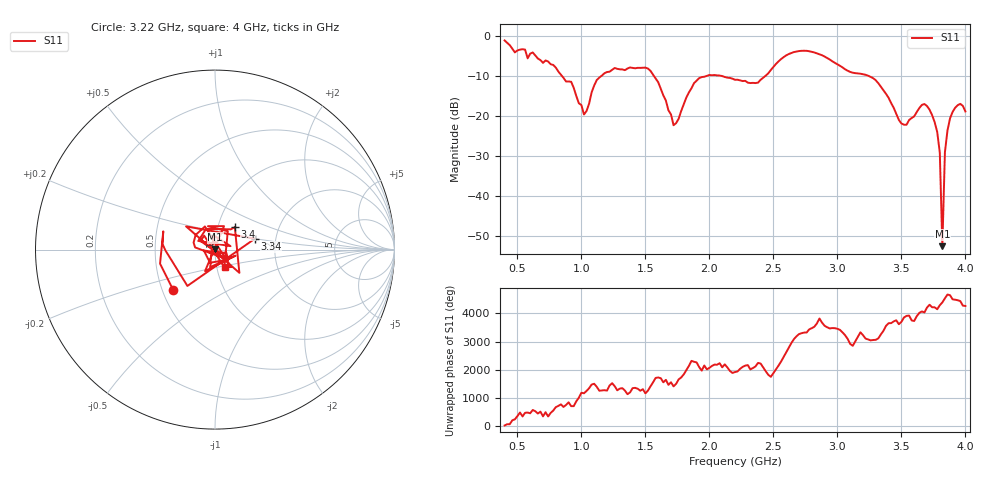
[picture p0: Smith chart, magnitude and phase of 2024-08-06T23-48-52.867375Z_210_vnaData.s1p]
!Created with skrf (http://scikit-rf.org).
# Hz S RI R 50.0
!freq ReS11 ImS11
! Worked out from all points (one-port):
!   181 points, 400 MHz to 4 GHz, reference 50 ohm
!   lowest |S11| = -52.6 dB at 3.82 GHz (marker M1), VSWR 1.00, Z = 50.1 + j0.216 ohm
!   |S11| at or under -10 dB: 1.565 GHz to 1.984 GHz (418.5 MHz wide, 23.6 % of centre); 2.085 GHz to 2.44 GHz (354.8 MHz wide, 15.7 % of centre); 3.239 GHz to end of sweep (the widest 3 of 4)
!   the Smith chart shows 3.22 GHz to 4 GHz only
!   S11 on the Smith chart (normalised r, x): 3.22 GHz: 0.57, -0.29; 3.34 GHz: 1.55, +0.20; 3.4 GHz: 1.20, +0.31; 4 GHz: 1.10, -0.22
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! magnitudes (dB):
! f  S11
! 400 MHz  -1.2
! 860 MHz  -10.5
! 920 MHz  -11.5
! 1.02 GHz  -19.7
! 1.12 GHz  -11.1
! 1.3 GHz  -8.4
! 1.52 GHz  -8.2
! 1.6 GHz  -11.6
! 1.72 GHz  -22.4
! 1.76 GHz  -20.7
! 1.92 GHz  -10.6
! 2.2 GHz  -11.0
! 2.38 GHz  -11.7
! 2.66 GHz  -4.1
! 3.1 GHz  -9.1
! 3.22 GHz  -9.8
! 3.34 GHz  -12.8
! 3.4 GHz  -15.5
! 3.5 GHz  -21.9
! 3.56 GHz  -21.1
! 3.68 GHz  -17.1
! 3.76 GHz  -21.6
! 3.8 GHz  -29.2
! 3.82 GHz  -52.6
! 3.84 GHz  -29.1
! 3.86 GHz  -23.7
! 3.92 GHz  -18.0
! 4 GHz  -18.9
